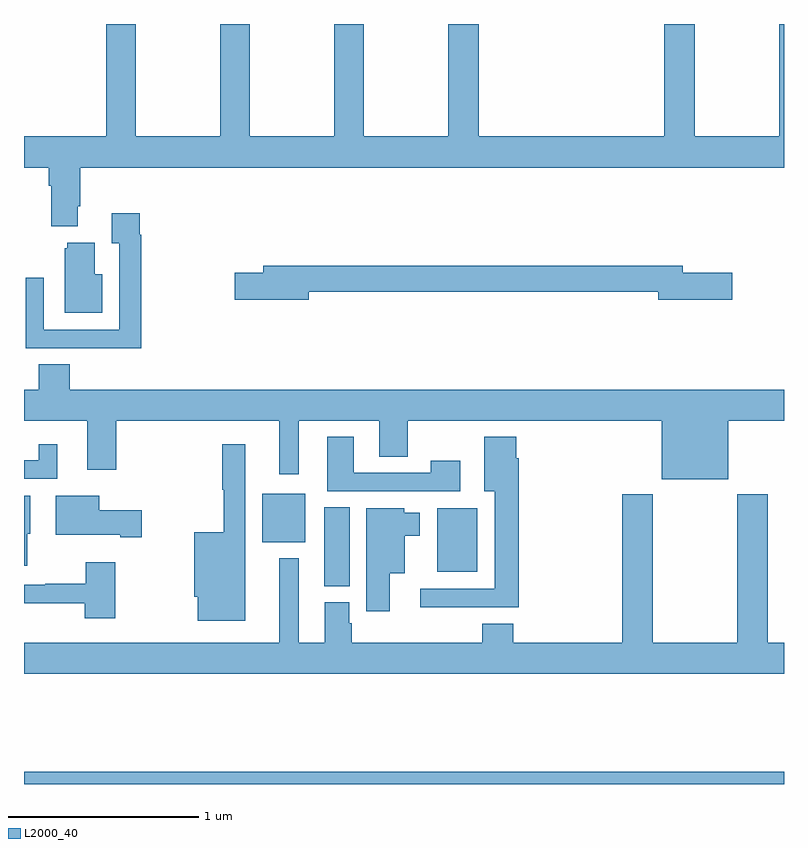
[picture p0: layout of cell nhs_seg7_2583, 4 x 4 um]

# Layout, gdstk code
import gdstk
lib = gdstk.Library(unit=1e-6, precision=1e-09)
def R(c, l, rs):  # rectangles x0, y0, x1, y1
    for r in rs: c.add(gdstk.rectangle(r[:2], r[2:], *l))
def P(c, l, *ps):  # polygons
    for p in ps: c.add(gdstk.Polygon(p, *l))
L2000_40 = (2000, 40)

nhs_seg7_2583 = lib.new_cell('nhs_seg7_2583')
R(nhs_seg7_2583, L2000_40, [(279,1036,283,1036.064), (280.58,1037.041,280.714,1037.456), (281.174,1037.117,281.386,1037.452), (280.253,1037.273,280.48,1037.527)])
P(nhs_seg7_2583, L2000_40, [(283,1040),(282.976,1040),(282.976,1039.408),(282.531,1039.408),(282.531,1040),(282.371,1040),(282.371,1039.408),(281.393,1039.408),(281.393,1040),(281.233,1040),(281.233,1039.408),(280.788,1039.408),(280.788,1040),(280.633,1040),(280.633,1039.408),(280.188,1039.408),(280.188,1040),(280.033,1040),(280.033,1039.408),(279.588,1039.408),(279.588,1040),(279.433,1040),(279.433,1039.408),(279,1039.408),(279,1039.244),(279.131,1039.244),(279.131,1039.148),(279.143,1039.148),(279.143,1038.935),(279.283,1038.935),(279.283,1039.042),(279.296,1039.042),(279.296,1039.244),(283,1039.244)],
  [(279.617,1038.89),(279.61,1038.89),(279.61,1039.003),(279.461,1039.003),(279.461,1038.847),(279.501,1038.847),(279.501,1038.39),(279.105,1038.39),(279.105,1038.664),(279.009,1038.664),(279.009,1038.294),(279.325,1038.294),(279.325,1038.293),(279.617,1038.293)],
  [(279.412,1038.682),(279.373,1038.682),(279.373,1038.85),(279.227,1038.85),(279.227,1038.819),(279.215,1038.819),(279.215,1038.479),(279.412,1038.479)],
  [(280.498,1038.592),(282.338,1038.592),(282.338,1038.55),(282.727,1038.55),(282.727,1038.692),(282.466,1038.692),(282.466,1038.728),(280.259,1038.728),(280.259,1038.692),(280.11,1038.692),(280.11,1038.55),(280.498,1038.55)],
  [(282.706,1037.912),(283,1037.912),(283,1038.076),(279.242,1038.076),(279.242,1038.209),(279.077,1038.209),(279.077,1038.076),(279,1038.076),(279,1037.912),(279.332,1037.912),(279.332,1037.655),(279.485,1037.655),(279.485,1037.912),(280.343,1037.912),(280.343,1037.631),(280.447,1037.631),(280.447,1037.912),(280.871,1037.912),(280.871,1037.722),(281.019,1037.722),(281.019,1037.912),(282.356,1037.912),(282.356,1037.603),(282.706,1037.603)],
  [(281.296,1037.701),(281.14,1037.701),(281.14,1037.637),(280.735,1037.637),(280.735,1037.827),(280.595,1037.827),(280.595,1037.541),(281.296,1037.541)],
  [(281.603,1037.714),(281.59,1037.714),(281.59,1037.827),(281.423,1037.827),(281.423,1037.54),(281.477,1037.54),(281.477,1037.028),(281.085,1037.028),(281.085,1036.93),(281.603,1036.93)],
  [(280.165,1037.788),(280.044,1037.788),(280.044,1037.549),(280.051,1037.549),(280.051,1037.326),(279.896,1037.326),(279.896,1036.986),(279.914,1036.986),(279.914,1036.859),(280.165,1036.859)],
  [(279.175,1037.788),(279.077,1037.788),(279.077,1037.703),(279,1037.703),(279,1037.607),(279.175,1037.607)],
  [(280.711,1036.845),(280.711,1036.956),(280.583,1036.956),(280.583,1036.744),(280.447,1036.744),(280.447,1037.188),(280.343,1037.188),(280.343,1036.744),(279,1036.744),(279,1036.58),(283,1036.58),(283,1036.744),(282.914,1036.744),(282.914,1037.524),(282.754,1037.524),(282.754,1036.744),(282.309,1036.744),(282.309,1037.524),(282.149,1037.524),(282.149,1036.744),(281.576,1036.744),(281.576,1036.843),(281.411,1036.843),(281.411,1036.744),(280.724,1036.744),(280.724,1036.845)],
  [(279.016,1037.316),(279.034,1037.316),(279.034,1037.518),(279,1037.518),(279,1037.148),(279.016,1037.148)],
  [(279.619,1037.442),(279.397,1037.442),(279.397,1037.518),(279.167,1037.518),(279.167,1037.312),(279.506,1037.312),(279.506,1037.3),(279.619,1037.3)],
  [(280.924,1037.108),(281.005,1037.108),(281.005,1037.306),(281.083,1037.306),(281.083,1037.428),(281.001,1037.428),(281.001,1037.452),(280.802,1037.452),(280.802,1036.908),(280.924,1036.908)],
  [(279.48,1037.167),(279.325,1037.167),(279.325,1037.054),(279.112,1037.054),(279.112,1037.049),(279,1037.049),(279,1036.952),(279.32,1036.952),(279.32,1036.872),(279.48,1036.872)])

lib.write_gds('nhs_seg7_2583.gds')
